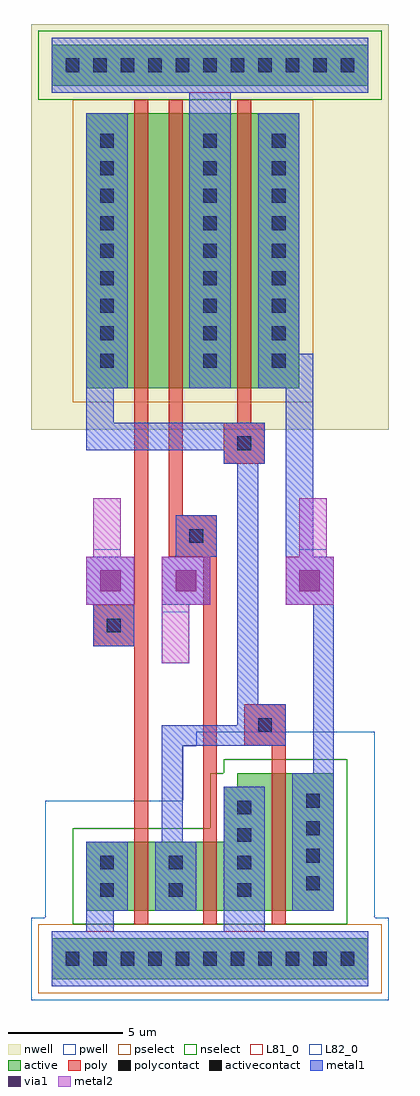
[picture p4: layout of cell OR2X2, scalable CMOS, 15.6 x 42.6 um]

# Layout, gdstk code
import gdstk
lib = gdstk.Library(unit=1e-6, precision=1e-09)
def R(c, l, rs):  # rectangles x0, y0, x1, y1
    for r in rs: c.add(gdstk.rectangle(r[:2], r[2:], *l))
def A(c, l, x, y, w, h, nx, ny, dx, dy):  # array of equal rectangles
    R(c, l, [(x+i*dx, y+j*dy, x+i*dx+w, y+j*dy+h) for i in range(nx) for j in range(ny)])
pwell = (41, 0)
nwell = (42, 0)
active = (43, 0)
pselect = (44, 0)
nselect = (45, 0)
poly = (46, 0)
polycontact = (47, 0)
activecontact = (48, 0)
metal1 = (49, 0)
via1 = (50, 0)
metal2 = (51, 0)
L81_0 = (81, 0)
L82_0 = (82, 0)

or2x2 = lib.new_cell('OR2X2')
R(or2x2, pwell, [(-1.8,-1.8,13.8,1.8), (-1.2,1.8,13.2,6.9), (4.8,6.9,13.2,9.3), (5.4,9.3,13.2,9.9)])
R(or2x2, nwell, [(-1.8,23.1,13.8,40.8)])
R(or2x2, active, [(-0.9,-0.9,12.9,0.9), (0.6,2.1,11.4,5.1), (6.6,5.1,11.4,7.5), (7.2,7.5,11.4,8.1), (0.6,24.9,9.9,36.9), (-0.9,38.1,12.9,39.9)])
R(or2x2, pselect, [(-1.5,-1.5,13.5,1.5), (0,24.3,10.5,37.5)])
R(or2x2, nselect, [(0,1.5,12,5.7), (6,5.7,12,8.1), (6.6,8.1,12,8.7), (-1.5,37.5,13.5,40.5)])
R(or2x2, poly, [(2.7,1.5,3.3,13.65), (5.7,1.5,6.3,17.55), (8.7,1.5,9.3,9.3), (7.5,9.3,9.3,11.1), (0.9,13.65,3.3,15.45), (2.7,15.45,3.3,37.5), (4.2,17.55,6.3,19.35), (4.2,19.35,4.8,37.5), (6.6,21.6,8.4,23.4), (7.2,23.4,7.8,37.5)])
R(or2x2, polycontact, [(8.1,9.9,8.7,10.5), (1.5,14.25,2.1,14.85), (5.1,18.15,5.7,18.75), (7.2,22.2,7.8,22.8)])
A(or2x2, activecontact, -0.3, -0.3, 0.6, 0.6, 11, 2, 1.2, 39)
A(or2x2, activecontact, 1.2, 2.7, 0.6, 0.6, 3, 2, 3, 1.2)
A(or2x2, activecontact, 10.2, 3, 0.6, 0.6, 1, 4, 0, 1.2)
A(or2x2, activecontact, 1.2, 25.8, 0.6, 0.6, 1, 9, 0, 1.2)
A(or2x2, activecontact, 5.7, 25.8, 0.6, 0.6, 1, 9, 0, 1.2)
A(or2x2, activecontact, 8.7, 25.8, 0.6, 0.6, 1, 9, 0, 1.2)
R(or2x2, activecontact, [(7.2,5.1,7.8,5.7), (7.2,6.3,7.8,6.9)])
R(or2x2, metal1, [(-0.9,-1.2,12.9,1.2), (0.6,1.2,1.8,2.1), (6.6,1.2,8.4,7.5), (0.6,2.1,2.4,5.1), (3.6,2.1,5.4,5.1), (9.6,2.1,11.4,8.1), (3.9,5.1,4.8,9.3), (10.5,8.1,11.4,15.45), (3.9,9.3,9.3,10.2), (7.2,10.2,9.3,11.1), (7.2,11.1,8.1,21.6), (0.9,13.65,2.7,15.45), (0.6,15.45,2.7,17.55), (3.9,15.45,6,17.55), (9.3,15.45,11.4,17.55), (4.5,17.55,6.3,19.35), (9.3,17.55,10.5,24.9), (6.6,21.6,8.4,22.2), (0.6,22.2,8.4,23.4), (0.6,23.4,1.8,24.9), (0.6,24.9,2.4,36.9), (5.1,24.9,6.9,37.8), (8.1,24.9,10.5,26.4), (8.1,26.4,9.9,36.9), (-0.9,37.8,12.9,40.2)])
R(or2x2, via1, [(1.2,16.05,2.1,16.95), (4.5,16.05,5.4,16.95), (9.9,16.05,10.8,16.95)])
R(or2x2, metal2, [(3.9,12.9,5.1,15.45), (0.6,15.45,2.7,17.55), (3.9,15.45,6,17.55), (9.3,15.45,11.4,17.55), (0.9,17.55,2.1,20.1), (9.9,17.55,11.1,20.1)])
R(or2x2, L81_0, [(-0.9,-1.2,12.9,1.2), (-0.9,37.8,12.9,40.2)])
R(or2x2, L82_0, [(3.9,12.9,5.1,15.15), (0.9,17.85,2.1,20.1), (9.9,17.85,11.1,20.1)])

lib.write_gds('OR2X2.gds')
